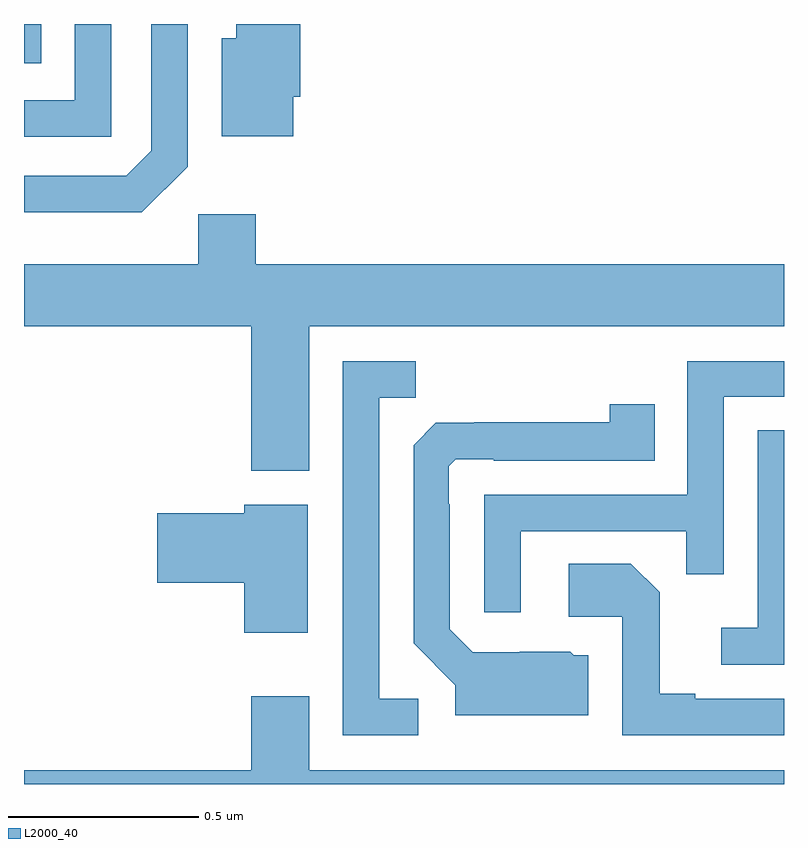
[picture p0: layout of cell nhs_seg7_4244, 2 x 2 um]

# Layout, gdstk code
import gdstk
lib = gdstk.Library(unit=1e-6, precision=1e-09)
def R(c, l, rs):  # rectangles x0, y0, x1, y1
    for r in rs: c.add(gdstk.rectangle(r[:2], r[2:], *l))
def P(c, l, *ps):  # polygons
    for p in ps: c.add(gdstk.Polygon(p, *l))
L2000_40 = (2000, 40)

nhs_seg7_4244 = lib.new_cell('nhs_seg7_4244')
R(nhs_seg7_4244, L2000_40, [(169,1079.897,169.045,1080)])
P(nhs_seg7_4244, L2000_40, [(169.708,1079.809),(169.727,1079.809),(169.727,1080),(169.559,1080),(169.559,1079.962),(169.52,1079.962),(169.52,1079.705),(169.708,1079.705)],
  [(169.431,1079.625),(169.431,1080),(169.335,1080),(169.335,1079.667),(169.269,1079.601),(169,1079.601),(169,1079.504),(169.31,1079.504)],
  [(169.23,1080),(169.134,1080),(169.134,1079.799),(169,1079.799),(169,1079.703),(169.23,1079.703)],
  [(169.75,1079.204),(171,1079.204),(171,1079.368),(169.61,1079.368),(169.61,1079.5),(169.458,1079.5),(169.458,1079.368),(169,1079.368),(169,1079.204),(169.598,1079.204),(169.598,1078.824),(169.75,1078.824)],
  [(170.038,1078.224),(169.935,1078.224),(169.935,1079.017),(170.031,1079.017),(170.031,1079.112),(169.839,1079.112),(169.839,1078.128),(170.038,1078.128)],
  [(170.307,1078.665),(170.743,1078.665),(170.743,1078.552),(170.841,1078.552),(170.841,1079.019),(171,1079.019),(171,1079.112),(170.745,1079.112),(170.745,1078.761),(170.211,1078.761),(170.211,1078.452),(170.307,1078.452)],
  [(170.485,1078.339),(170.447,1078.339),(170.438,1078.348),(170.304,1078.348),(170.304,1078.347),(170.181,1078.347),(170.121,1078.407),(170.121,1078.736),(170.118,1078.736),(170.118,1078.836),(170.136,1078.854),(170.236,1078.854),(170.236,1078.851),(170.66,1078.851),(170.66,1078.999),(170.542,1078.999),(170.542,1078.952),(170.185,1078.952),(170.185,1078.951),(170.084,1078.951),(170.025,1078.892),(170.025,1078.37),(170.135,1078.26),(170.135,1078.181),(170.485,1078.181)],
  [(171,1078.931),(170.931,1078.931),(170.931,1078.411),(170.835,1078.411),(170.835,1078.314),(171,1078.314)],
  [(169.747,1078.735),(169.58,1078.735),(169.58,1078.712),(169.35,1078.712),(169.35,1078.529),(169.58,1078.529),(169.58,1078.398),(169.747,1078.398)],
  [(171,1078.224),(170.767,1078.224),(170.767,1078.237),(170.673,1078.237),(170.673,1078.504),(170.597,1078.58),(170.433,1078.58),(170.433,1078.44),(170.574,1078.44),(170.574,1078.128),(171,1078.128)],
  [(171,1078.036),(169.75,1078.036),(169.75,1078.231),(169.598,1078.231),(169.598,1078.036),(169,1078.036),(169,1078),(171,1078)])

lib.write_gds('nhs_seg7_4244.gds')
